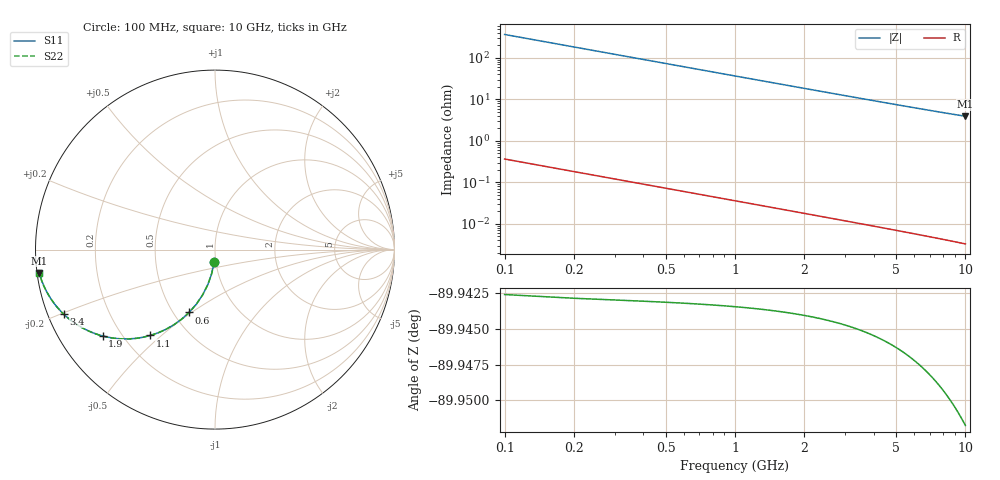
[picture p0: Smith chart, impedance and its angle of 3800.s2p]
# Hz S RI R 50.00
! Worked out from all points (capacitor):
!   100 points, 100 MHz to 10 GHz, reference 50 ohm
!   read as one part in shunt: C = 4.35 pF near 100 MHz
!   lowest |Z| = 3.93 ohm at 10 GHz (marker M1)
!   S11 on the Smith chart (normalised r, x): 100 MHz: 0.98, -0.13; 600 MHz: 0.60, -0.49; 1.1 GHz: 0.31, -0.46; 1.9 GHz: 0.13, -0.33; 3.4 GHz: 0.05, -0.20; 10 GHz: 0.01, -0.07
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1e8  -0.00469 -0.0679  0.9953 -0.0681  0.9953 -0.0681  -0.00469 -0.0679
2e8  -0.0184 -0.1339  0.9815 -0.1343  0.9815 -0.1343  -0.0184 -0.1339
3e8  -0.0405 -0.1962  0.9595 -0.1969  0.9595 -0.1969  -0.0405 -0.1962
4e8  -0.0696 -0.2536  0.9303 -0.2545  0.9303 -0.2545  -0.0696 -0.2536
5e8  -0.1046 -0.305  0.8953 -0.3061  0.8953 -0.3061  -0.1046 -0.305
6e8  -0.1439 -0.3499  0.856 -0.3512  0.856 -0.3512  -0.1439 -0.3499
7e8  -0.1861 -0.3879  0.8139 -0.3895  0.8139 -0.3895  -0.1861 -0.3879
8e8  -0.2299 -0.4194  0.7701 -0.4211  0.7701 -0.4211  -0.2299 -0.4194
9e8  -0.2741 -0.4446  0.7259 -0.4465  0.7259 -0.4465  -0.2741 -0.4446
1.1e9  -0.3603 -0.4784  0.6396 -0.4808  0.6396 -0.4808  -0.3603 -0.4784
1.4e9  -0.4767 -0.4974  0.5233 -0.5005  0.5233 -0.5005  -0.4767 -0.4974
1.8e9  -0.6005 -0.4873  0.3995 -0.4913  0.3995 -0.4913  -0.6005 -0.4873
1.9e9  -0.626 -0.4813  0.374 -0.4854  0.374 -0.4854  -0.626 -0.4813
2.2e9  -0.6914 -0.459  0.3085 -0.4638  0.3085 -0.4638  -0.6914 -0.459
2.6e9  -0.7576 -0.4252  0.2424 -0.4309  0.2424 -0.4309  -0.7576 -0.4252
3e9  -0.806 -0.3916  0.1939 -0.3982  0.1939 -0.3982  -0.806 -0.3916
3.4e9  -0.842 -0.3604  0.1579 -0.368  0.1579 -0.368  -0.842 -0.3604
4.2e9  -0.8904 -0.3072  0.1096 -0.3166  0.1096 -0.3166  -0.8904 -0.3072
5.1e9  -0.9229 -0.2604  0.077 -0.2719  0.077 -0.2719  -0.9229 -0.2604
6.7e9  -0.9539 -0.2014  0.0459 -0.2167  0.0459 -0.2167  -0.9539 -0.2014
8.4e9  -0.9703 -0.1591  0.0294 -0.1786  0.0294 -0.1786  -0.9703 -0.1591
1e10  -0.979 -0.1306  0.0207 -0.154  0.0207 -0.154  -0.979 -0.1306
